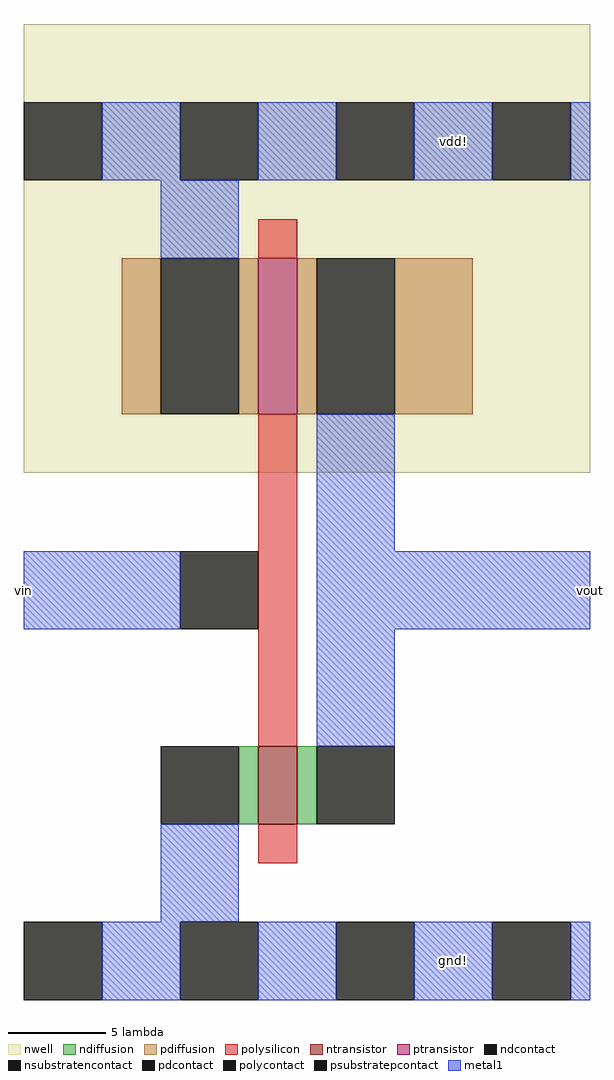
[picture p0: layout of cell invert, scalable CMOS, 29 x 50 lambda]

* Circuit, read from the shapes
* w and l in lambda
.subckt invert gnd! vdd! vin vout
M1 vout vin gnd! gnd! nfet w=4 l=2
M2 vout vin vdd! vdd! pfet w=8 l=2
.ends

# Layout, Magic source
magic
tech scmos
<< nwell >>
rect -5 5 24 28
<< polysilicon >>
rect 7 16 9 18
rect 7 -9 9 8
rect 7 -15 9 -13
<< ndiffusion >>
rect 6 -13 7 -9
rect 9 -13 10 -9
<< pdiffusion >>
rect 0 8 2 16
rect 6 8 7 16
rect 9 8 10 16
rect 14 8 18 16
<< metal1 >>
rect -1 20 3 24
rect 7 20 11 24
rect 15 20 19 24
rect 23 20 24 24
rect 2 16 6 20
rect 10 1 14 8
rect -5 -3 3 1
rect 10 -3 24 1
rect 10 -9 14 -3
rect 2 -18 6 -13
rect -1 -22 3 -18
rect 7 -22 11 -18
rect 15 -22 19 -18
rect 23 -22 24 -18
<< ntransistor >>
rect 7 -13 9 -9
<< ptransistor >>
rect 7 8 9 16
<< polycontact >>
rect 3 -3 7 1
<< ndcontact >>
rect 2 -13 6 -9
rect 10 -13 14 -9
<< pdcontact >>
rect 2 8 6 16
rect 10 8 14 16
<< psubstratepcontact >>
rect -5 -22 -1 -18
rect 3 -22 7 -18
rect 11 -22 15 -18
rect 19 -22 23 -18
<< nsubstratencontact >>
rect -5 20 -1 24
rect 3 20 7 24
rect 11 20 15 24
rect 19 20 23 24
<< labels >>
rlabel metal1 17 22 17 22 1 vdd!
rlabel metal1 17 -20 17 -20 1 gnd!
rlabel metal1 -5 -3 -5 1 3 vin
rlabel metal1 24 -3 24 1 7 vout
<< end >>
